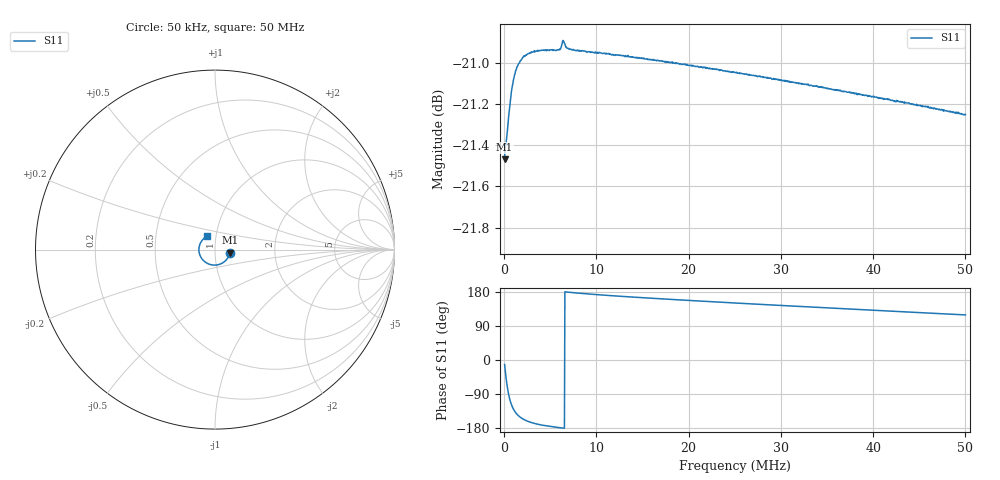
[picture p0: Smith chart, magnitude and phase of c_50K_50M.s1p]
# HZ S RI R 50
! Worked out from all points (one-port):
!   1010 points, 50 kHz to 50 MHz, reference 50 ohm
!   lowest |S11| = -21.5 dB at 50 kHz (marker M1), VSWR 1.18, Z = 59 - j2.07 ohm
!   |S11| at or under -10 dB: start of sweep to end of sweep
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50000  0.0826 -0.0174
99504  0.078 -0.0342
198512  0.0601 -0.0604
347024  0.0268 -0.0815
396528  0.0161 -0.0845
446032  0.00625 -0.086
545040  -0.0111 -0.086
644048  -0.0251 -0.0835
743056  -0.0363 -0.0796
842064  -0.0452 -0.0753
941072  -0.0523 -0.0709
1139088  -0.0627 -0.0625
1436112  -0.0722 -0.0519
1782640  -0.0785 -0.0424
2178672  -0.0827 -0.0341
2624208  -0.0854 -0.0272
3168752  -0.0873 -0.0207
4554864  -0.0892 -0.00978
5841968  -0.0897 -0.00301
6337008  -0.0902 -0.00114
8960720  -0.0893 0.00847
1.257451e7  -0.0876 0.0183
1.881202e7  -0.0831 0.0321
2.504952e7  -0.0771 0.0438
3.128702e7  -0.0697 0.054
3.752453e7  -0.0613 0.0627
4.376203e7  -0.052 0.07
4.999954e7  -0.042 0.0757
